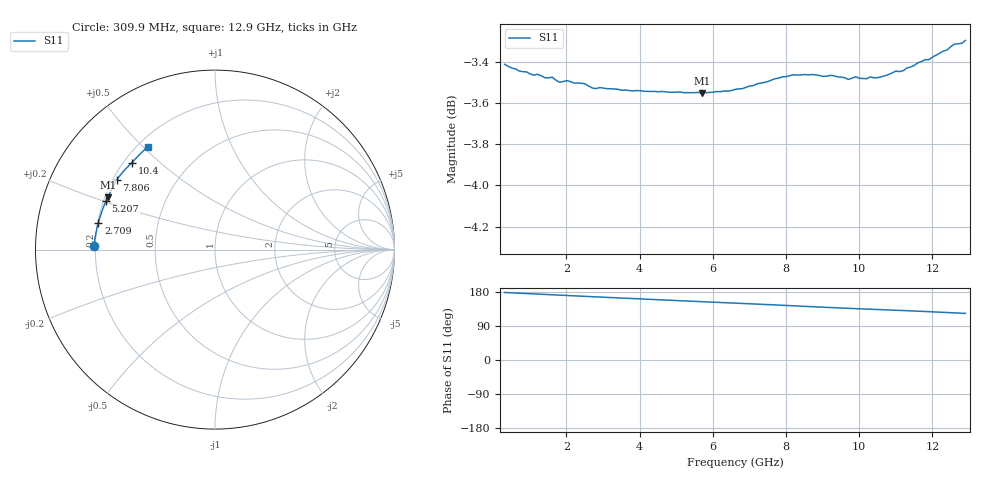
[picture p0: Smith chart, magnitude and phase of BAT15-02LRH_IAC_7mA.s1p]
! Infineon Technologies  Discrete & RF Semiconductors
! BAT15-02LRH
! IAC = 7 mA
! One-Port S-Parameters
# Hz  S  MA  R  50
!f  S11
!Hz  Mag  Ang
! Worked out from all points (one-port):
!   127 points, 309.9 MHz to 12.9 GHz, reference 50 ohm
!   lowest |S11| = -3.6 dB at 5.707 GHz (marker M1), VSWR 4.96, Z = 10.6 + j11.1 ohm
!   |S11| at or under -10 dB: nowhere
!   S11 on the Smith chart (normalised r, x): 309.9 MHz: 0.19, +0.01; 2.709 GHz: 0.20, +0.11; 5.207 GHz: 0.21, +0.20; 7.806 GHz: 0.22, +0.30; 10.4 GHz: 0.23, +0.41; 12.9 GHz: 0.24, +0.52
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3.0985e8  0.6752 178.3
1.2094e9  0.6715 174.0
1.6092e9  0.6704 172.1
1.70915e9  0.6693 171.6
1.90905e9  0.6687 170.8
2.4088e9  0.6681 168.4
2.70865e9  0.6663 167.0
3.0085e9  0.6663 165.7
3.50825e9  0.6655 163.5
4.008e9  0.6653 161.3
5.10745e9  0.6648 156.5
5.2074e9  0.6646 156.0
5.70715e9  0.6644 153.9
6.6067e9  0.6658 150.0
7.2064e9  0.6678 147.5
7.8061e9  0.67 144.8
8.2059e9  0.6713 143.0
8.50575e9  0.6714 141.6
9.10545e9  0.6707 138.9
9.8051e9  0.67 136.0
1.04048e10  0.6701 133.6
1.14043e10  0.6742 129.7
1.16042e10  0.6758 128.8
1.2004e10  0.6779 127.2
1.26037e10  0.6829 124.4
1.270365e10  0.683 124.0
1.28036e10  0.6832 123.4
1.290355e10  0.6843 123.0
